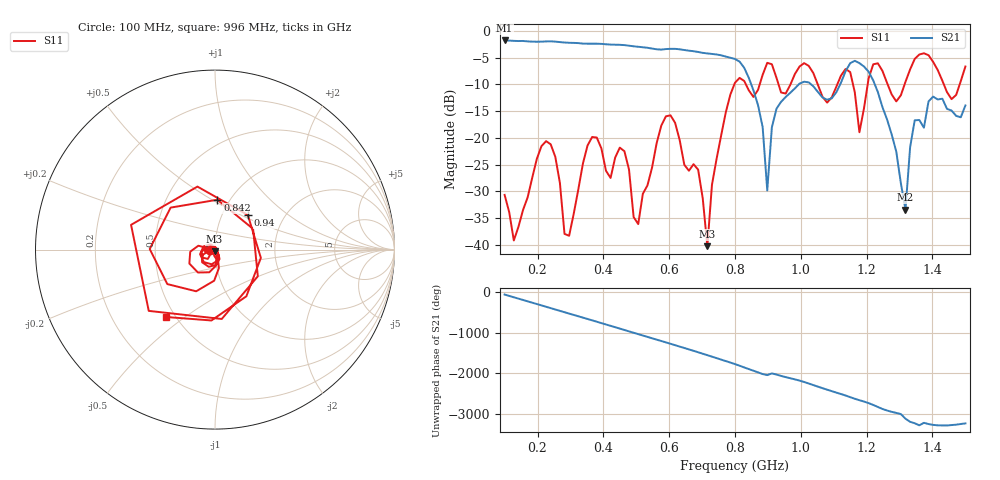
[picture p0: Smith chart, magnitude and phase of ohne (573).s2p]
! NanoVNA-App
! Date: 2025-09-25 14:25:15
! Start: 100MHz Stop: 1,5GHz Points: 101
! S-Parameter data: F S11 S21 S12 S22
# Hz S RI R 50
!  Frequency  S11_Real  S11_Imag  S21_Real  S21_Imag  S12_Real  S12_Imag  S22_Real  S22_Imag
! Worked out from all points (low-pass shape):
!   101 points, 100 MHz to 1.5 GHz, reference 50 ohm
!   highest |S21| = -1.79 dB at 100 MHz (marker M1); lowest = -33.4 dB at 1.318 GHz (marker M2)
!   |S21| within 3 dB of the highest: start of sweep to 771.2 MHz
!   lowest |S11| = -40.2 dB at 716 MHz (marker M3), VSWR 1.02, Z = 49.7 - j0.938 ohm
!   |S11| at or under -10 dB: start of sweep to 798 MHz; 833.1 MHz to 875.1 MHz (41.99 MHz wide, 4.92 % of centre); 1.051 GHz to 1.111 GHz (59.42 MHz wide, 5.5 % of centre) (the widest 3 of 7)
!   S12 and S22 are empty: the file has one direction only
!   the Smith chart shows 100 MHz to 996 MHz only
!   S11 on the Smith chart (normalised r, x): 100 MHz: 0.94, -0.01; 842 MHz: 0.88, +0.53; 940 MHz: 1.32, +0.55; 996 MHz: 0.45, -0.43
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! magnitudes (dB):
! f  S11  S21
! 100 MHz  -30.6  -1.8
! 128 MHz  -39.1  -1.9
! 226 MHz  -20.6  -2.0
! 296 MHz  -38.3  -2.2
! 338 MHz  -24.8  -2.4
! 464 MHz  -22.5  -2.7
! 506 MHz  -36.1  -3.0
! 576 MHz  -17.7  -3.5
! 688 MHz  -25.9  -3.9
! 716 MHz  -40.2  -4.2
! 800 MHz  -9.7  -5.3
! 842 MHz  -11.1  -8.8
! 898 MHz  -6.0  -29.8
! 940 MHz  -11.5  -13.3
! 996 MHz  -6.7  -9.9
! 1.038 GHz  -7.9  -10.4
! 1.178 GHz  -18.9  -6.0
! 1.22 GHz  -6.2  -9.3
! 1.276 GHz  -11.9  -19.3
! 1.318 GHz  -9.5  -33.4
! 1.346 GHz  -5.2  -16.7
! 1.5 GHz  -6.7  -13.9
